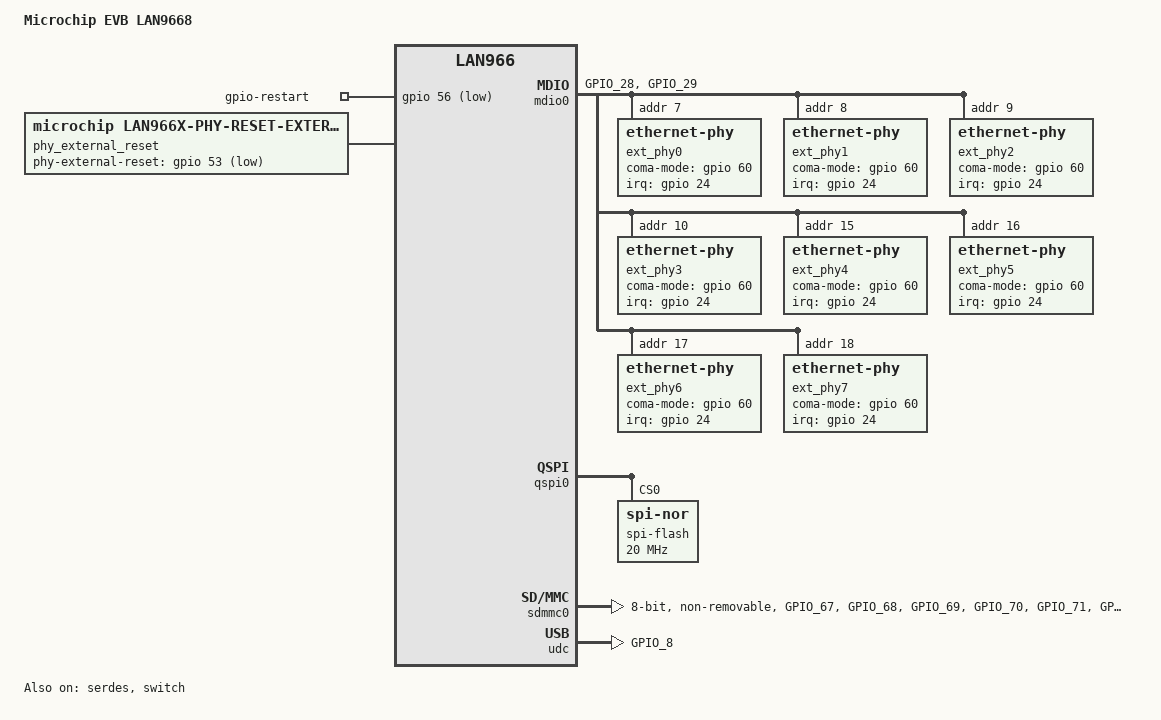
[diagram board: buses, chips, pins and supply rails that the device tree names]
// SPDX-License-Identifier: (GPL-2.0+ OR MIT)
/*
 * lan966x-pcb8290.dts - Device Tree file for LAN966X-PCB8290 board
 *
 * Copyright (C) 2022 Microchip Technology Inc. and its subsidiaries
 *
 * Author: Horatiu Vultur <horatiu.vultur@microchip.com>
 */
/dts-v1/;
#include "lan966x.dtsi"
#include "lan966x-port-delay-pcb8290.dtsi"
#include "dt-bindings/phy/phy-lan966x-serdes.h"

/ {
	model = "Microchip EVB LAN9668";
	compatible = "microchip,lan9668-pcb8290", "microchip,lan9668", "microchip,lan966";

	gpio-restart {
		compatible = "gpio-restart";
		gpios = <&gpio 56 GPIO_ACTIVE_LOW>;
		priority = <200>;
	};

	phy_external_reset: phy_external_reset {
		compatible = "microchip,lan966x-phy-reset-external";
		#reset-cells = <1>;
		phy-external-reset-gpios = <&gpio 53 GPIO_ACTIVE_LOW>;
	};
};

&aes {
	status = "disabled"; /* Reserved by secure OS */
};

&gpio {
	emmc_sd_pins: emmc-sd-pins {
		/* eMMC_SD - CMD, CLK, D0, D1, D2, D3, RSTN */
		pins = "GPIO_67", "GPIO_68", "GPIO_69", "GPIO_70",
			"GPIO_71", "GPIO_72", "GPIO_77";
		function = "emmc_sd";
	};

	emmc_pins: emmc-pins {
		/* eMMC - D4, D5, D6, D7 */
		pins = "GPIO_73", "GPIO_74", "GPIO_75", "GPIO_76";
		function = "emmc";
	};

	miim_a_pins: mdio-pins {
		/* MDC, MDIO */
		pins = "GPIO_28", "GPIO_29";
		function = "miim_a";
	};

	pps_out_pins: pps-out-pins {
		/* 1pps output */
		pins = "GPIO_38";
		function = "ptpsync_3";
	};

	ptp_ext_pins: ptp-ext-pins {
		/* 1pps input */
		pins = "GPIO_35";
		function = "ptpsync_0";
	};

	udc_pins: ucd-pins {
		/* VBUS_DET B */
		pins = "GPIO_8";
		function = "usb_slave_b";
	};
};

&mdio0 {
	compatible = "microchip,lan9668-miim";
	pinctrl-0 = <&miim_a_pins>;
	pinctrl-names = "default";
	status = "okay";

	resets = <&phy_external_reset 0>;
	reset-names = "phy";

	ext_phy0: ethernet-phy@7 {
		reg = <7>;
		interrupts = <24 IRQ_TYPE_LEVEL_LOW>;
		interrupt-parent = <&gpio>;
		coma-mode-gpios = <&gpio 60 GPIO_OPEN_DRAIN>;
	};

	ext_phy1: ethernet-phy@8 {
		reg = <8>;
		interrupts = <24 IRQ_TYPE_LEVEL_LOW>;
		interrupt-parent = <&gpio>;
		coma-mode-gpios = <&gpio 60 GPIO_OPEN_DRAIN>;
	};

	ext_phy2: ethernet-phy@9 {
		reg = <9>;
		interrupts = <24 IRQ_TYPE_LEVEL_LOW>;
		interrupt-parent = <&gpio>;
		coma-mode-gpios = <&gpio 60 GPIO_OPEN_DRAIN>;
	};

	ext_phy3: ethernet-phy@10 {
		reg = <10>;
		interrupts = <24 IRQ_TYPE_LEVEL_LOW>;
		interrupt-parent = <&gpio>;
		coma-mode-gpios = <&gpio 60 GPIO_OPEN_DRAIN>;
	};

	ext_phy4: ethernet-phy@15 {
		reg = <15>;
		interrupts = <24 IRQ_TYPE_LEVEL_LOW>;
		interrupt-parent = <&gpio>;
		coma-mode-gpios = <&gpio 60 GPIO_OPEN_DRAIN>;
	};

	ext_phy5: ethernet-phy@16 {
		reg = <16>;
		interrupts = <24 IRQ_TYPE_LEVEL_LOW>;
		interrupt-parent = <&gpio>;
		coma-mode-gpios = <&gpio 60 GPIO_OPEN_DRAIN>;
	};

	ext_phy6: ethernet-phy@17 {
		reg = <17>;
		interrupts = <24 IRQ_TYPE_LEVEL_LOW>;
		interrupt-parent = <&gpio>;
		coma-mode-gpios = <&gpio 60 GPIO_OPEN_DRAIN>;
	};

	ext_phy7: ethernet-phy@18 {
		reg = <18>;
		interrupts = <24 IRQ_TYPE_LEVEL_LOW>;
		interrupt-parent = <&gpio>;
		coma-mode-gpios = <&gpio 60 GPIO_OPEN_DRAIN>;
	};
};

&port0 {
	reg = <2>;
	phy-handle = <&ext_phy2>;
	phy-mode = "qsgmii";
	phys = <&serdes 0 SERDES6G(1)>;
	status = "okay";
};

&port1 {
	reg = <3>;
	phy-handle = <&ext_phy3>;
	phy-mode = "qsgmii";
	phys = <&serdes 1 SERDES6G(1)>;
	status = "okay";
};

&port2 {
	reg = <0>;
	phy-handle = <&ext_phy0>;
	phy-mode = "qsgmii";
	phys = <&serdes 2 SERDES6G(1)>;
	status = "okay";
};

&port3 {
	reg = <1>;
	phy-handle = <&ext_phy1>;
	phy-mode = "qsgmii";
	phys = <&serdes 3 SERDES6G(1)>;
	status = "okay";
};

&port4 {
	reg = <6>;
	phy-handle = <&ext_phy6>;
	phy-mode = "qsgmii";
	phys = <&serdes 4 SERDES6G(2)>;
	status = "okay";
};

&port5 {
	reg = <7>;
	phy-handle = <&ext_phy7>;
	phy-mode = "qsgmii";
	phys = <&serdes 5 SERDES6G(2)>;
	status = "okay";
};

&port6 {
	reg = <4>;
	phy-handle = <&ext_phy4>;
	phy-mode = "qsgmii";
	phys = <&serdes 6 SERDES6G(2)>;
	status = "okay";
};

&port7 {
	reg = <5>;
	phy-handle = <&ext_phy5>;
	phy-mode = "qsgmii";
	phys = <&serdes 7 SERDES6G(2)>;
	status = "okay";
};

&qspi0 {
	status = "okay";

	spi-flash@0 {
		compatible = "jedec,spi-nor";
		reg = <0>;
		spi-max-frequency = <20000000>;
		#address-cells = <1>;
		#size-cells = <1>;
		spi-tx-bus-width = <4>;
		spi-rx-bus-width = <4>;
		m25p,fast-read;
	};
};

&sdmmc0 {
	bus-width = <8>;
	cap-mmc-highspeed;
	cap-mmc-hw-reset;
	non-removable;
	pinctrl-0 = <&emmc_sd_pins>, <&emmc_pins>;
	pinctrl-names = "default";
	no-1-8-v;
	tx-phase = <0>; /* 180 degrees phase shift */
	status = "okay";
};

&serdes {
	status = "okay";
};

&switch {
	pinctrl-0 = <&pps_out_pins>, <&ptp_ext_pins>;
	pinctrl-names = "default";
	status = "okay";
};

&udc {
	pinctrl-0 = <&udc_pins>;
	pinctrl-names = "default";
	atmel,vbus-gpio = <&gpio 8 GPIO_ACTIVE_HIGH>;
	status = "okay";
};
